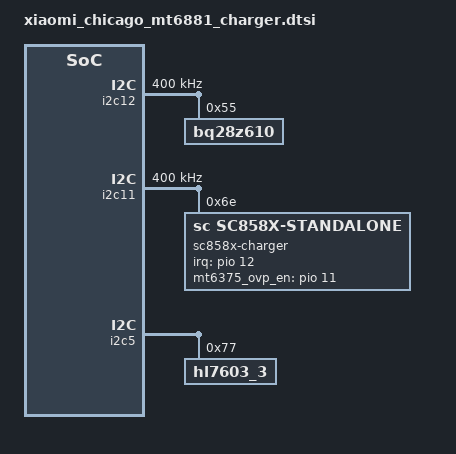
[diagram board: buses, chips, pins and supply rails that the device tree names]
// SPDX-License-Identifier: (GPL-2.0 OR MIT)
/*
 * Copyright (C) 2024 MediaTek Inc.
 */

#include <dt-bindings/power/mtk-charger.h>
#include <dt-bindings/iio/mt635x-auxadc.h>

&i2c12 {
	clock-frequency = <400000>;
	status = "okay";
	bq28z610@55 {
        compatible = "bq28z610";
        reg = <0x55>;

        enable_shutdown_delay;
        normal_shutdown_vbat_1s = <3400>;
        critical_shutdown_vbat_1s = <3340>;
        report_full_rsoc_1s = <9500>;
        soc_gap_1s = <2>;
        //slave_connect_gpio = <&pio 75 0x1>;
        soc_decimal_rate = <
            0  38
            10 35
            20 33
            30 33
            40 33
            50 33
            60 33
            70 30
            80 25
            90 20
            95 10 >;

        temp_hyst = <20>;
        dynamic_shutdown_voltage_support;
        dod_temp_range = <
            (-200)	(-61)
            (-60)	(-1)
            0	99
            100	600>;
        dod_shutdown_voltage_0 = <
            0	89	2550	2600	2650
            90	168	2600    2650    2700
            169	451	2700	2750	2800
            452	1050	2750    2800    2850
            1051	5000	2850	2900	2950 >;
        dod_shutdown_voltage_1 = <
            0	89	2500	2600	2650
            90	168	2700    2750    2800
            169	451	2800	2850	2900
            452	1050	2850    2900    2950
            1051	5000	2950	3000	3050 >;
        dod_shutdown_voltage_2 = <
            0	89	2650	2700	2700
            90	168	2850    2900    2900
            169	451	2950	3000	3000
            452	1050	3000    3050    3050
            1051	5000	3050	3150	3150 >;
        dod_shutdown_voltage_3 = <
            0	89	2800	2850	2850
            90	168	3000    3050    3050
            169	451	3100	3150	3150
            452	1050	3150    3200    3200
            1051	5000	3200	3250	3250 >;

        cycle_temp_range = <
            (-200)	(-61)
            (-60)	(-1)
            0	99
            100	600>;
        cycle_shutdown_voltage_0 = <
            0	400	2500	2600	2650
            401	800	2600    2650    2700
            801	1200	2700	2750	2800
            1201	5000	2750	2800	2850>;
        cycle_shutdown_voltage_1 = <
            0	400	2500	2600	2650
            401	800	2700	2750	2800
            801	1200	2800    2850    2900
            1201	5000	2850	2900	2950>;
        cycle_shutdown_voltage_2 = <
            0	400	2650	2700	2700
            401	800	2850	2900    2900
            801	1200	2950	3000	3000
            1201	5000	3000	3050	3050>;
        cycle_shutdown_voltage_3 = <
            0	400	2800	2850	2850
            401	800	3000	3050	3050
            801	1200	3100	3150	3150
            1201	5000	3150	3200	3200>;

        cold_dynamic_shutdown_voltage_support;
        cold_shutdown_vol_current = <300>;
        cold_shutdown_vol_soc = <6>;
        cold_shutdown_vol_after_charging_time_s = <180>;
        dod_cold_temp_range = <
            (-200)	(-61)
            (-60)	(-1)>;
        cold_dod_shutdown_voltage_0 = <
            0	89	3000	3050	3100
            90	168	3000    3050    3100
            169	451	3000	3050	3100
            452	1050	3050    3100    3150
            1051	5000	3050	3100	3150 >;
        cold_dod_shutdown_voltage_1 = <
            0	89	3000	3050	3100
            90	168	3000    3050    3100
            169	451	3050	3100	3150
            452	1050	3050    3100    3150
            1051	5000	3100	3150	3200 >;
	};
};

&i2c11 {
	clock-frequency = <400000>;
	status = "okay";
	sc858x-charger@6E{
		compatible = "sc,sc858x-standalone";
		reg = <0x6E>;
		sc,sc858x,irq-gpio = <&pio 12 IRQ_TYPE_EDGE_FALLING>;

		sc,sc858x,bat-ovp-disable = <0>;
		sc,sc858x,bat-ovp-threshold = <11>;/*4450 + val * 25*/
		sc,sc858x,usb-ovp-threshold = <11>;/*11000 + val * 1000*/
		sc,sc858x,wpc-ovp-threshold = <11>;/*11000 + val * 1000*/
		sc,sc858x,bus-ovp-threshold = <9>;/*15000 + val * 800*/
		sc,sc858x,out-ovp-threshold = <1>;/*4800 + val * 200*/
		sc,sc858x,bus-ocp-disable = <0>;
		sc,sc858x,bus-ocp-threshold = <15>;/*2500 + val * 125*/
		sc,sc858x,bus-ucp-fall-dg = <1>;/*0:8us 1:5ms 2:20ms 3:50ms*/
		sc,sc858x,pmid2out-ovp-threshold = <2>;/*200 + val * 100*/
		sc,sc858x,pmid2out-uvp-threshold = <7>;/*100 + val * 50*/
		sc,sc858x,fsw-set = <7>;/*180 + val * 60*/
		sc,sc858x,acdrv-hi-en = <1>;/*0:5V, 1:9V*/
		sc,sc858x,ss-timeout = <5>;/*0:dis 3:320ms 4:1.28s 5:5.12s 6:20.48s 7:81.92s*/
		sc,sc858x,wd-timeout = <0>;/*0:dis 1:0.2s 2:0.5s 3:1s 4:5s 5:30s*/
		sc,sc858x,mode = <1>;/*0:(4:1 chg) 1:(2:1 chg) 2:(1:1 chg) 4:(1:4 con) 5:(1:2 con) 6:(1:1 con)*/
		sc,sc858x,tsbat-flt-disable = <1>;
		sc,sc858x,tshut-disable = <1>;
		sc,sc858x,wpc-ovp-disable = <0>;
		sc,sc858x,usb-ovp-disable = <0>;
		sc,sc858x,bus-ovp-disable = <0>;
		sc,sc858x,out-ovp-disable = <0>;
		sc,sc858x,sense-r-mohm = <1>;/*0:1m  1:2m*/
		mt6375_ovp_en_gpio = <&pio 11 0x0>;
	};
};

&charger {
	max_charger_voltage = <12000000>;
    /* charging current */
    usb_charger_current = <500000>;
    ac_charger_current = <1600000>;
    ac_charger_input_current = <1600000>;
    charging_host_charger_current = <900000>;
    step_fallback_hyst = <125>;
    step_forward_hyst = <0>;
    jeita_fallback_hyst = <10>;
    jeita_forward_hyst = <10>;
    mt6368_moscon1_control;
    en_floatgnd;
    enable_pdtest_mode = <1>;
    support_quick_revchg;
    smart_snschg_v2_support;
    pd2_input_current = <1700000>;
    min_charger_voltage_1 = <4200000>;
    min_charger_voltage_2 = <4500000>;
    ffc_low_tbat = <180>;
    ffc_medium_tbat = <230>;
    ffc_warm_tbat = <350>;
    ffc_little_high_tbat = <400>;
    ffc_high_tbat = <480>;
    ffc_high_soc = <95>;
    adapter_power = <100>;
    support_pchg_policy;
    io-channels = <&pmic_adc (ADC_PURES_100K | AUXADC_VIN4)>;
    io-channel-names = "slave_connector_auxadc";
    /* CN battery paremeter */
    fv = <4520>;
    fv_normal = <4500>;
    fv_normal_warm = <4490>;
    fv_normal_high = <4480>;
    fv_ffc = <4580>;
    iterm = <401>;
    iterm_warm = <401>;
    jeita_fcc_cfg = <(-100) 30      4150    729     583
                    31      80      4150    1358    994
                    81      110     4150    2087    1358
                    111     130     4150    2087    1358
                    131     180     4150    8748    7290
                    181     470     4200    17600   17600
                    471     600     4100    3645    3645>;
	jeita_fv_cfg = <(-100)  30      4520
                    31      80      4520
                    81      110     4520
                    111     130     4520
                    131     180     4520
                    181     470     4570
                    471     600     4100>;
    /* ATL START */
    iterm_ffc_1_cycle_atl = <1282>;
    iterm_ffc_little_warm_1_cycle_atl = <1684>;
    iterm_ffc_warm_1_cycle_atl = <2480>;
    iterm_ffc_hot_1_cycle_atl = <3368>;
    /* ATL 12-23C cycle step */
    /* 1-50cls */
    step_chg_cfg_1_cycle_atl = <3000        4250    12400
                            4251    4500    10935
                            4501    4570    8748>;
    /* 50-100cls */
    step_chg_cfg_50_cycle_atl = <3000       4220    12400
                            4221    4480    10935
                            4481    4570    8748>;
    /* 100-150cls */
    step_chg_cfg_100_cycle_atl = <3000      4220    12400
                            4221    4460    10935
                            4461    4550    8748>;
    /* 150-300cls */
    step_chg_cfg_150_cycle_atl = <3000      4220    12400
                            4221    4440    10935
                            4441    4550    8748>;
    /* 300-800cls */
    step_chg_cfg_300_cycle_atl = <3000      4220    12400
                            4221    4420    10935
                            4421    4540    8748>;
    /* >800cls */
    step_chg_cfg_800_cycle_atl = <3000      4220    12400
                            4221    4420    10935
                            4421    4520    8748>;
    /* ATL 23-48C cycle step */
    /* 1-50cls */
    step_chg_cfg_warm_1_cycle_atl = <3000   4220    17400
                                    4221    4320    12400
                                    4321    4500    10940
                                    4501    4570    8750>;
	/* 50-100cls */
    step_chg_cfg_warm_50_cycle_atl = <3000  4190    17400
                                    4191    4300    11780
                                    4301    4480    10390
                                    4481    4570    8310>;
    /* 100-150cls */
    step_chg_cfg_warm_100_cycle_atl = <3000 4190    17400
                                    4191    4280    11160
                                    4281    4460    9840
                                    4461    4550    7870>;
    /* 150-300cls */
    step_chg_cfg_warm_150_cycle_atl = <3000 4190    17400
                                    4191    4260    10540
                                    4261    4400    9290
                                    4401    4550    7440>;
    /* 300-800cls */
    step_chg_cfg_warm_300_cycle_atl = <3000 4190    17400
                                    4191    4240    9920
                                    4241    4420    8750
                                    4421    4540    7000>;
    /* >800cls */
    step_chg_cfg_warm_800_cycle_atl = <3000 4190    17400
                                    4191    4240    9920
                                    4241    4420    8750
                                    4421    4520    7000>;
    /* ATL END */
    /* LWN START */
    iterm_ffc_1_cycle_lwn = <1443>;
    iterm_ffc_little_warm_1_cycle_lwn = <1844>;
    iterm_ffc_warm_1_cycle_lwn = <2646>;
    iterm_ffc_hot_1_cycle_lwn = <3448>;
    /* LWN 12-23C cycle step */
    /* 1-50cls */
    step_chg_cfg_1_cycle_lwn = <3000        4250    12400
                            4251    4500    10935
                            4501    4570    8748>;
    /* 50-100cls */
    step_chg_cfg_50_cycle_lwn = <3000       4220    12400
                            4221    4480    10935
                            4481    4570    8748>;
    /* 100-150cls */
    step_chg_cfg_100_cycle_lwn = <3000      4220    12400
                            4221    4460    10935
                            4461    4550    8748>;
    /* 150-300cls */
    step_chg_cfg_150_cycle_lwn = <3000      4220    12400
                            4221    4440    10935
                            4441    4550    8748>;
    /* 300-800cls */
    step_chg_cfg_300_cycle_lwn = <3000      4220    12400
                            4221    4420    10935
                            4421    4540    8748>;
    /* >800cls */
    step_chg_cfg_800_cycle_lwn = <3000      4220    12400
                            4221    4420    10935
                            4421    4520    8748>;
    /* LWN 23-48C cycle step */
    /* 1-50cls */
    step_chg_cfg_warm_1_cycle_lwn = <3000   4150    17400
                                    4151    4320    12400
                                    4321    4500    10940
                                    4501    4570    8750>;
    /* 50-100cls */
    step_chg_cfg_warm_50_cycle_lwn = <3000  4120    17400
                                    4121    4300    11780
                                    4301    4480    10390
                                    4481    4570    8310>;
    /* 100-150cls */
    step_chg_cfg_warm_100_cycle_lwn = <3000 4120    17400
                                    4121    4280    11160
                                    4281    4460    9840
                                    4461    4550    7870>;
    /* 150-300cls */
    step_chg_cfg_warm_150_cycle_lwn = <3000 4120    17400
                                    4121    4260    10540
                                    4261    4400    9290
                                    4401    4550    7440>;
    /* 300-800cls */
    step_chg_cfg_warm_300_cycle_lwn = <3000 4120    17400
                                    4121    4240    9920
                                    4241    4420    8750
                                    4421    4540    7000>;
	/* >800cls */
    step_chg_cfg_warm_800_cycle_lwn = <3000 4120    17400
                                    4121    4240    9920
                                    4241    4420    8750
                                    4421    4520    7000>;
    /* LWN END */
    thermal_limit_dcp = <1900 1900 1900 1900 1900 1900 1900 1900 1900 1900 1900 1900 1500 1400 1200 1000>;
    thermal_limit_qc2 = <2500 2500 2500 2500 2500 2500 2500 2500 2500 2500 2500 2000 1500 1500 1000 500>;
    thermal_limit_qc3_18w = <2500 2500 2500 2500 2500 2500 2400 2300 2200 2100 1500 1000 800 700 600 500>;
    thermal_limit_qc3_27w = <2500 2500 2500 2500 2500 2500 2400 2300 2200 2100 1500 1000 800 700 600 500>;
    thermal_limit_qc35 = <2500 2500 2500 2500 2500 2500 2400 2300 2200 2100 1500 1000 800 700 600 500>;
    thermal_limit_pd = <17600 13500 11000 9000 8000 7000 6000 5000 4500 3500 3000 2500 2000 1500 1000 500>;
    smart_bypass_support;
    smart_bypass_entry_soc = <20>;
    smart_bypass_exit_soc = <90>;
    smart_bypass_fallback_hyst = <5>; // board_temp(0.1 degree) hyst
    smart_bypass_forward_hyst = <5>;
    smart_bypass_high_lmt_cfg = <(-100)     250     3000
                    251     280     2500
                    281     300     2000
                    301     330     1600
                    331     370     1200
                    371     800     900>;
    smart_bypass_med_lmt_cfg = <(-100)      150     17600
                    151     200     17600
                    201     250     17600
                    251     300     8000
                    301     370     5000
                    371     800     2000>;
    smart_bypass_low_lmt_cfg = <(-100)      150     17600
                    151     200     17600
                    201     250     17600
                    251     300     17600
                    301     370     17600
                    371     800     17600>;
};

&lk_charger {
	non-std-ac-charger-current = <1000000>;
	ac-charger-current = <1600000>;
	ac-charger-input-current = <2000000>;
	/* battery temperature protection */
	temp-t4-threshold = <58>;
	temp-t3-threshold = <45>;
	temp-t1-threshold = <(-10)>;
	boot-battery-voltage-max = <3650000>;
	boot-battery-voltage = <3200000>;
	pre-charger-current = <700000>;
	boot-voltage-level = <3000 3100 3200 3200 3400>;
	ta-capability-level = <1900 1350 850 500 0>;
	extrem-boot-battery-voltage = <3100000>;
};

&pd_cp_manager {
		compatible = "pd_cp_manager";
		fv = <4492>;
		fv_ffc = <4562>;
		max_fcc = <17600>;
		max_vbus = <20000>;
		max_ibus = <4400>;
		fcc_low_hyst = <150>;
		fcc_high_hyst = <10>;
		low_tbat = <100>;
		high_tbat = <480>;
		high_vbat = <4400>;
		high_soc = <95>;
		low_fcc = <2000>;
		cv_vbat = <4480>;
		cv_vbat_ffc = <4510>;
		cv_ibat = <1200>;
		min_pdo_vbus = <8000>;
		max_pdo_vbus = <21000>;
		mt6375_control_gpio = <&pio 11 0x0>;
		lsw_control_gpio = <&pio 10 0x0>;
		support_4_1_mode;
		support_pmic_parachg;
		switch1_1_enter = <2500>;
		switch1_1_exit = <3700>;
		switch2_1_enter = <4200>;
		switch2_1_exit = <6500>;
		pdm_ibus_gap = <0>;
		pdm_bypass_ibus_gap = <2600>;
		adapter_power = <100>;
		fv_hyst = <9>;
		support_pchg_policy;
};

&mtk_gauge {
	disable-mtkbattery = <(1)>;
	FIXED_BATTERY_TEMPERATURE = <(25)>;
};

&rt_pd_manager {
	en-wd0-port0;
};

&mt6720_typec {
	tcpc,en_floatgnd;
};

&i2c5 {
	hl7603_3@77 {
		compatible = "hl7603_3";
		reg = <0x77>;
		vout_threshold = <3600>;
	};
};

&mt6368_vtp {
		regulator-always-on;
};

&mt6720_div2 {
    status = "disabled";
};

